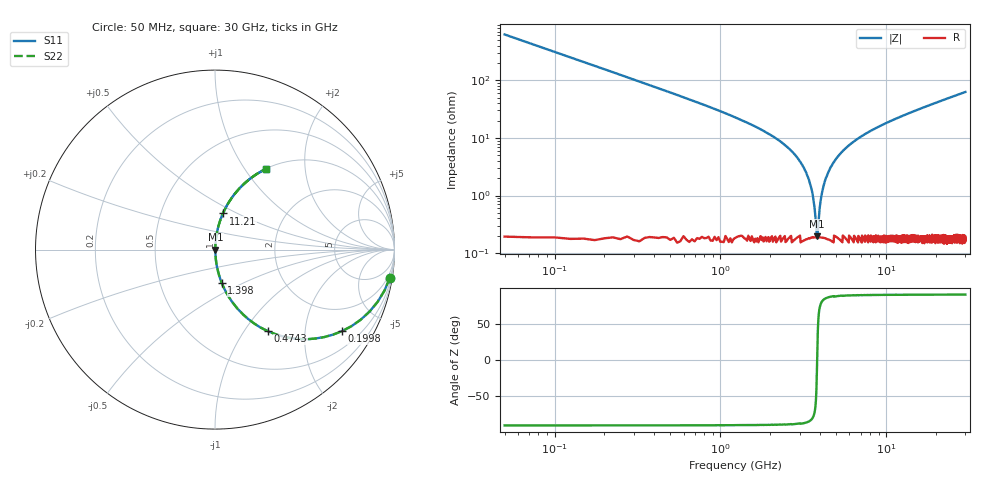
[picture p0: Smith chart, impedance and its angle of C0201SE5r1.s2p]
!	AVX Thin Film Operation 	Date: April 2014
!	Description: Accu-P® Series, Thin Film  SMD RF Capacitor
!	Part Number: 02013K5R1ABSTR
# MHZ S MA R 50
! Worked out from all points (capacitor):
!   1201 points, 50 MHz to 30 GHz, reference 50 ohm
!   read as one part in series: C = 5.1 pF near 199.8 MHz
!   lowest |Z| = 195 mohm at 3.819 GHz (marker M1)
!   series resonance near 3.83 GHz, so ESL is about 340 pH
!   S11 on the Smith chart (normalised r, x): 50 MHz: 1, -12; 199.8 MHz: 1.00, -3.12; 474.3 MHz: 1.00, -1.30; 1.398 GHz: 1.00, -0.39; 11.21 GHz: 1.00, +0.42; 30 GHz: 1.00, +1.26
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50  0.987 -9.1  0.158 80.9  0.158 80.9  0.987 -9.1
199.75  0.841 -32.7  0.54 57.3  0.54 57.3  0.841 -32.7
299.583  0.719 -44.0  0.694 45.9  0.694 45.9  0.719 -44.0
474.292  0.543 -57.0  0.838 32.9  0.838 32.9  0.543 -57.0
798.75  0.35 -69.3  0.935 20.5  0.935 20.5  0.35 -69.3
1397.75  0.19 -78.5  0.98 10.9  0.98 10.9  0.19 -78.5
2570.792  0.066 -84.7  0.996 3.8  0.996 3.8  0.066 -84.7
3144.833  0.032 -85.0  0.998 1.8  0.998 1.8  0.032 -85.0
3494.25  0.015 -82.4  0.998 0.9  0.998 0.9  0.015 -82.4
3718.875  0.005121 -69.4  0.998 0.3  0.998 0.3  0.005121 -69.4
3818.708  0.001844 -15.5  0.998 0.0  0.998 0.0  0.001844 -15.5
3918.542  0.004109 64.2  0.998 -0.2  0.998 -0.2  0.004109 64.2
4093.25  0.011 80.0  0.998 -0.6  0.998 -0.6  0.011 80.0
4292.917  0.019 83.5  0.998 -1.1  0.998 -1.1  0.019 83.5
5041.667  0.045 85.2  0.997 -2.6  0.997 -2.6  0.045 85.2
6913.542  0.101 83.2  0.993 -5.8  0.993 -5.8  0.101 83.2
10058.29  0.18 79.1  0.982 -10.3  0.982 -10.3  0.18 79.1
11206.38  0.206 77.6  0.977 -11.9  0.977 -11.9  0.206 77.6
15025  0.286 73.0  0.957 -16.6  0.957 -16.6  0.286 73.0
20016.67  0.379 67.5  0.924 -22.3  0.924 -22.3  0.379 67.5
25033.29  0.461 62.4  0.886 -27.4  0.886 -27.4  0.461 62.4
30000  0.531 57.8  0.846 -32.1  0.846 -32.1  0.531 57.8
